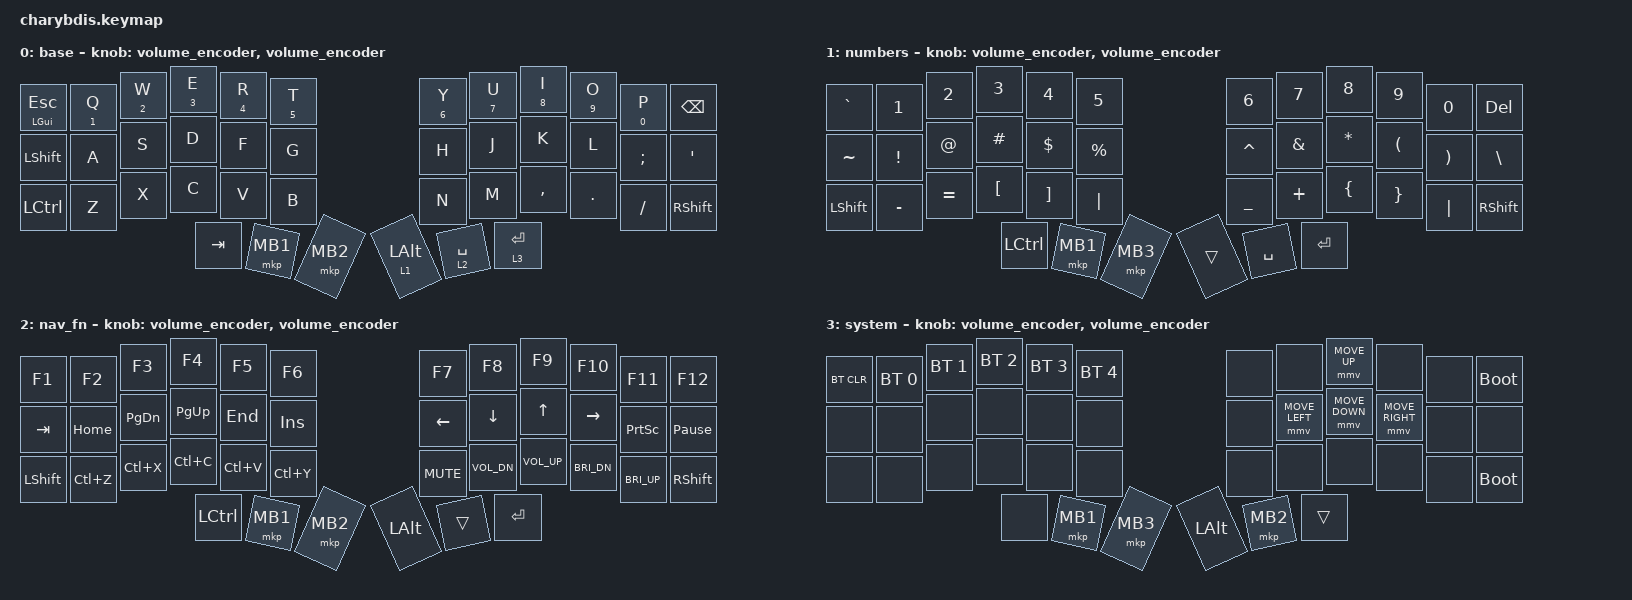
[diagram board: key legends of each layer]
#include <dt-bindings/zmk/mouse.h>
#include <input/processors.dtsi>
#include <zephyr/dt-bindings/input/input-event-codes.h>
#include <behaviors.dtsi>
#include <dt-bindings/zmk/keys.h>
#include <dt-bindings/zmk/bt.h>

#define ZMK_POINTING_DEFAULT_MOVE_VAL 1000 // 600

&lt {
    tapping-term-ms = <200>;
    flavor = "balanced";
    quick-tap-ms = <150>;
};

// Трекбол и движение мыши. Скролл-режимы убраны по запросу.
&mmv_input_listener { input-processors = <&zip_xy_scaler 2 1>; };

&mmv {
    time-to-max-speed-ms = <300>;
    acceleration-exponent = <1>;
    trigger-period-ms = <16>;
};

/ {
    // Энкодер EC11 — громкость (скролл-энкодеры удалены).
    volume_encoder: volume_encoder {
        compatible = "zmk,behavior-sensor-rotate";
        #sensor-binding-cells = <0>;
        bindings = <&kp C_VOL_DN>, <&kp C_VOL_UP>;
        tap-ms = <50>;
    };

    behaviors {
        ht: hold_tap {
            compatible = "zmk,behavior-hold-tap";
            #binding-cells = <2>;
            tapping-term-ms = <200>;
            flavor = "balanced";
            quick-tap-ms = <150>;
            bindings = <&kp>, <&kp>;
        };
    };

    keymap {
        compatible = "zmk,keymap";

        // Layer 0: Base QWERTY
        base {
            bindings = <
&mt LGUI ESC &ht N1 Q  &ht N2 W  &ht N3 E  &ht N4 R  &ht N5 T     &ht N6 Y     &ht N7 U   &ht N8 I   &ht N9 O  &ht N0 P  &kp BSPC
&kp LSHFT    &kp A  &kp S  &kp D      &kp F     &kp G        &kp H        &kp J      &kp K      &kp L    &kp SEMI  &kp APOS
&kp LCTRL  &kp Z  &kp X  &kp C      &kp V     &kp B        &kp N        &kp M      &kp COMMA  &kp DOT  &kp FSLH  &kp RSHFT
                          &kp TAB  &mkp MB1  &mkp MB2     &lt 1 LALT   &lt 2 SPACE  &lt 3 ENTER
            >;

            sensor-bindings = <&volume_encoder>, <&volume_encoder>;
        };

        // Layer 1: Numbers + Symbols (hold ALT)
        numbers {
            bindings = <
&kp GRAVE  &kp N1     &kp N2  &kp N3    &kp N4    &kp N5       &kp N6     &kp N7          &kp N8     &kp N9    &kp N0    &kp DEL
&kp TILDE  &kp EXCL   &kp AT  &kp HASH  &kp DLLR  &kp PRCNT    &kp CARET  &kp AMPS        &kp ASTRK  &kp LPAR  &kp RPAR  &kp BSLH
&kp LSHFT  &kp MINUS  &kp EQUAL &kp LBKT &kp RBKT &kp PIPE      &kp UNDER  &kp PLUS        &kp LBRC   &kp RBRC  &kp PIPE  &kp RSHFT
                                &kp LCTRL &mkp MB1  &mkp MB3     &trans     &kp SPACE       &kp ENTER
            >;

            sensor-bindings = <&volume_encoder>, <&volume_encoder>;
        };

        // Layer 2: Navigation + F-keys (hold SPACE)
        nav_fn {
            bindings = <
&kp F1     &kp F2    &kp F3     &kp F4     &kp F5   &kp F6       &kp F7      &kp F8       &kp F9     &kp F10    &kp F11    &kp F12
&kp TAB   &kp HOME  &kp PG_DN  &kp PG_UP  &kp END  &kp INS      &kp LEFT    &kp DOWN     &kp UP     &kp RIGHT  &kp PSCRN  &kp PAUSE_BREAK
&kp LSHFT  &kp LC(Z) &kp LC(X)  &kp LC(C)  &kp LC(V) &kp LC(Y)   &kp C_MUTE  &kp C_VOL_DN &kp C_VOL_UP &kp C_BRI_DN &kp C_BRI_UP &kp RSHFT
                                 &kp LCTRL  &mkp MB1  &mkp MB2    &kp LALT    &trans       &kp ENTER
            >;

            sensor-bindings = <&volume_encoder>, <&volume_encoder>;
        };

        // Layer 3: Mouse + BT (hold ENTER)
        system {
            bindings = <
&bt BT_CLR  &bt BT_SEL 0  &bt BT_SEL 1  &bt BT_SEL 2  &bt BT_SEL 3  &bt BT_SEL 4    &none           &none          &mmv MOVE_UP    &none            &none   &bootloader
&none       &none         &none         &none         &none         &none           &none           &mmv MOVE_LEFT &mmv MOVE_DOWN  &mmv MOVE_RIGHT  &none   &none
&none       &none         &none         &none         &none         &none           &none           &none          &none           &none            &none   &bootloader
                                            &none          &mkp MB1       &mkp MB3       &kp LALT        &mkp MB2       &trans
            >;

            sensor-bindings = <&volume_encoder>, <&volume_encoder>;
        };

    };
};
